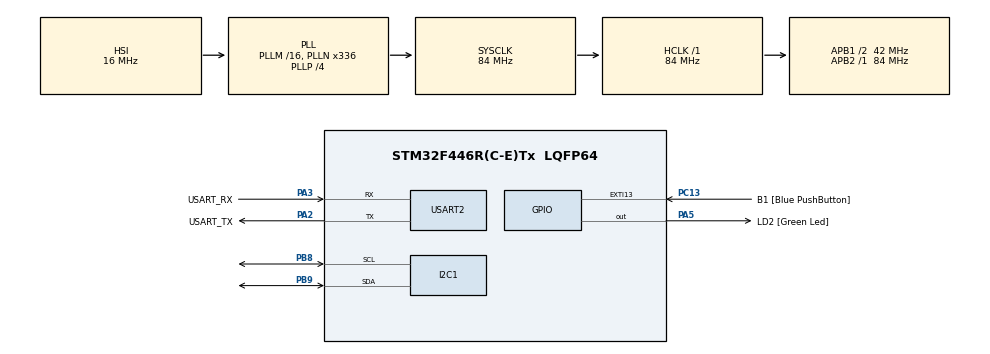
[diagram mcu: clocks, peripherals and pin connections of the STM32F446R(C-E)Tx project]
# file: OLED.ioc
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I2C1.I2C_Mode=I2C_Fast
Mcu.Family=STM32F4
Mcu.Name=STM32F446R(C-E)Tx
Mcu.Package=LQFP64
NVIC.EXTI15_10_IRQn=true\:0\:0\:false\:false\:true\:true\:true\:true
NVIC.PriorityGroup=NVIC_PRIORITYGROUP_0
PA13.GPIO_Label=TMS
PA13.Mode=Serial_Wire
PA13.Signal=SYS_JTMS-SWDIO
PA14.GPIO_Label=TCK
PA14.Mode=Serial_Wire
PA14.Signal=SYS_JTCK-SWCLK
PA2.GPIO_Label=USART_TX
PA2.Mode=Asynchronous
PA2.Signal=USART2_TX
PA3.GPIO_Label=USART_RX
PA3.Mode=Asynchronous
PA3.Signal=USART2_RX
PA5.GPIO_Label=LD2 [Green Led]
PA5.Signal=GPIO_Output
PB3.GPIO_Label=SWO
PB3.Signal=SYS_JTDO-SWO
PB8.Mode=I2C
PB8.Signal=I2C1_SCL
PB9.Mode=I2C
PB9.Signal=I2C1_SDA
PC13.GPIO_Label=B1 [Blue PushButton]
PC13.GPIO_ModeDefaultEXTI=GPIO_MODE_IT_FALLING
PC13.Signal=GPXTI13
PC14-OSC32_IN.Mode=LSE-External-Oscillator
PC14-OSC32_IN.Signal=RCC_OSC32_IN
PC15-OSC32_OUT.Mode=LSE-External-Oscillator
PC15-OSC32_OUT.Signal=RCC_OSC32_OUT
PH0-OSC_IN.Mode=HSE-External-Oscillator
PH0-OSC_IN.Signal=RCC_OSC_IN
PH1-OSC_OUT.Mode=HSE-External-Oscillator
PH1-OSC_OUT.Signal=RCC_OSC_OUT
ProjectManager.HeapSize=0x200
ProjectManager.StackSize=0x400
ProjectManager.TargetToolchain=STM32CubeIDE
RCC.48MHZClocksFreq_Value=84000000
RCC.AHBFreq_Value=84000000
RCC.APB1CLKDivider=RCC_HCLK_DIV2
RCC.APB1Freq_Value=42000000
RCC.APB1TimFreq_Value=84000000
RCC.APB2Freq_Value=84000000
RCC.APB2TimFreq_Value=84000000
RCC.CortexFreq_Value=84000000
RCC.FLatency-AdvancedSettings=FLASH_LATENCY_2
RCC.HCLKFreq_Value=84000000
RCC.HSE_VALUE=8000000
RCC.HSI_VALUE=16000000
RCC.PLLN=336
RCC.PLLP=RCC_PLLP_DIV4
RCC.SYSCLKFreq_VALUE=84000000
RCC.SYSCLKSource=RCC_SYSCLKSOURCE_PLLCLK
RCC.USBFreq_Value=168000000
RCC.VCOOutputFreq_Value=336000000
USART2.VirtualMode=VM_ASYNC
board=NUCLEO-F446RE

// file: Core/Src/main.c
/* USER CODE BEGIN Header */
/**
  ******************************************************************************
  * @file           : main.c
  * @brief          : Main program body
  ******************************************************************************
  * @attention
  *
  * Copyright (c) 2023 STMicroelectronics.
  * All rights reserved.
  *
  * This software is licensed under terms that can be found in the LICENSE file
  * in the root directory of this software component.
  * If no LICENSE file comes with this software, it is provided AS-IS.
  *
  ******************************************************************************
  */
/* USER CODE END Header */
#include "main.h"
#include <stdbool.h>
#include <stdlib.h>
#include <time.h>

/* USER CODE BEGIN Includes */
#include "ssd1306.h"
/* USER CODE END Includes */

/* USER CODE BEGIN PTD */
typedef struct {
	SSD1306_VERTEX leftTop;
	uint8_t width;
	uint8_t height;
	bool backward;
} PADDLE;
/* USER CODE END PTD */

I2C_HandleTypeDef hi2c1;
UART_HandleTypeDef huart2;

/* USER CODE BEGIN PV */
static PADDLE paddle;
/* USER CODE END PV */

void SystemClock_Config(void);
static void MX_GPIO_Init(void);
static void MX_USART2_UART_Init(void);
static void MX_I2C1_Init(void);

/* USER CODE BEGIN PFP */
void paddleInit();
void generateRandomCoordinate(SSD1306_VERTEX *coordinate);
/* USER CODE END PFP */

int main(void)
{
  /* USER CODE BEGIN 1 */
	SSD1306_VERTEX ballCoordinate;
	void paddleInit(){
		paddle.leftTop.x = 0;
		paddle.leftTop.y = 60;
		paddle.width = 20;
		paddle.height = 3;
		paddle.backward = false;
	}

	void generateRandomCoordinate(SSD1306_VERTEX *coordinate){
		uint8_t x, y;

		//srand(time(0)); TODO: need to implement _gettimeofday func to work

		x = 0 + rand() / (RAND_MAX / (SSD1306_WIDTH - 0 + 1) + 1);
		y = 0 + rand() / (RAND_MAX / (SSD1306_HEIGHT - 0 + 1) + 1);

		coordinate->x = x;
		coordinate->y = y;
	}
  /* USER CODE END 1 */

  /* MCU Configuration--------------------------------------------------------*/

  /* Reset of all peripherals, Initializes the Flash interface and the Systick. */
  HAL_Init();

  /* Configure the system clock */
  SystemClock_Config();

  /* Initialize all configured peripherals */
  MX_GPIO_Init();
  MX_USART2_UART_Init();
  MX_I2C1_Init();
  /* USER CODE BEGIN 2 */
  HAL_Delay(1000);
  ssd1306_Init();
  paddleInit();
  generateRandomCoordinate(&ballCoordinate);
  /* USER CODE END 2 */

  /* Infinite loop */
  /* USER CODE BEGIN WHILE */
  while (1)
  {
	  ssd1306_Fill(Black);
	  ssd1306_FillRectangle(ballCoordinate.x, ballCoordinate.y, ballCoordinate.x+3, ballCoordinate.y+3, White);

	  if (paddle.backward && paddle.leftTop.x > 0){
		  paddle.leftTop.x--;
	  }
	  else if (!paddle.backward && paddle.leftTop.x + paddle.width < SSD1306_WIDTH - 1){
		  paddle.leftTop.x++;
	  }
	  else{
		  paddle.backward = !paddle.backward;
	  }
	  ssd1306_FillRectangle(paddle.leftTop.x, paddle.leftTop.y, paddle.leftTop.x + paddle.width, paddle.leftTop.y + paddle.height, White);
	  ssd1306_UpdateScreen();

    /* USER CODE END WHILE */

  }
}

void SystemClock_Config(void)
{
  RCC_OscInitTypeDef RCC_OscInitStruct = {0};
  RCC_ClkInitTypeDef RCC_ClkInitStruct = {0};

  /** Configure the main internal regulator output voltage
  */
  __HAL_RCC_PWR_CLK_ENABLE();
  __HAL_PWR_VOLTAGESCALING_CONFIG(PWR_REGULATOR_VOLTAGE_SCALE3);

  /** Initializes the RCC Oscillators according to the specified parameters
  * in the RCC_OscInitTypeDef structure.
  */
  RCC_OscInitStruct.OscillatorType = RCC_OSCILLATORTYPE_HSI;
  RCC_OscInitStruct.HSIState = RCC_HSI_ON;
  RCC_OscInitStruct.HSICalibrationValue = RCC_HSICALIBRATION_DEFAULT;
  RCC_OscInitStruct.PLL.PLLState = RCC_PLL_ON;
  RCC_OscInitStruct.PLL.PLLSource = RCC_PLLSOURCE_HSI;
  RCC_OscInitStruct.PLL.PLLM = 16;
  RCC_OscInitStruct.PLL.PLLN = 336;
  RCC_OscInitStruct.PLL.PLLP = RCC_PLLP_DIV4;
  RCC_OscInitStruct.PLL.PLLQ = 2;
  RCC_OscInitStruct.PLL.PLLR = 2;
  if (HAL_RCC_OscConfig(&RCC_OscInitStruct) != HAL_OK)
  {
    Error_Handler();
  }

  /** Initializes the CPU, AHB and APB buses clocks
  */
  RCC_ClkInitStruct.ClockType = RCC_CLOCKTYPE_HCLK|RCC_CLOCKTYPE_SYSCLK
                              |RCC_CLOCKTYPE_PCLK1|RCC_CLOCKTYPE_PCLK2;
  RCC_ClkInitStruct.SYSCLKSource = RCC_SYSCLKSOURCE_PLLCLK;
  RCC_ClkInitStruct.AHBCLKDivider = RCC_SYSCLK_DIV1;
  RCC_ClkInitStruct.APB1CLKDivider = RCC_HCLK_DIV2;
  RCC_ClkInitStruct.APB2CLKDivider = RCC_HCLK_DIV1;

  if (HAL_RCC_ClockConfig(&RCC_ClkInitStruct, FLASH_LATENCY_2) != HAL_OK)
  {
    Error_Handler();
  }
}

static void MX_I2C1_Init(void)
{

  hi2c1.Instance = I2C1;
  hi2c1.Init.ClockSpeed = 400000;
  hi2c1.Init.DutyCycle = I2C_DUTYCYCLE_2;
  hi2c1.Init.OwnAddress1 = 0;
  hi2c1.Init.AddressingMode = I2C_ADDRESSINGMODE_7BIT;
  hi2c1.Init.DualAddressMode = I2C_DUALADDRESS_DISABLE;
  hi2c1.Init.OwnAddress2 = 0;
  hi2c1.Init.GeneralCallMode = I2C_GENERALCALL_DISABLE;
  hi2c1.Init.NoStretchMode = I2C_NOSTRETCH_DISABLE;
  if (HAL_I2C_Init(&hi2c1) != HAL_OK)
  {
    Error_Handler();
  }

}

static void MX_USART2_UART_Init(void)
{

  huart2.Instance = USART2;
  huart2.Init.BaudRate = 115200;
  huart2.Init.WordLength = UART_WORDLENGTH_8B;
  huart2.Init.StopBits = UART_STOPBITS_1;
  huart2.Init.Parity = UART_PARITY_NONE;
  huart2.Init.Mode = UART_MODE_TX_RX;
  huart2.Init.HwFlowCtl = UART_HWCONTROL_NONE;
  huart2.Init.OverSampling = UART_OVERSAMPLING_16;
  if (HAL_UART_Init(&huart2) != HAL_OK)
  {
    Error_Handler();
  }

}

static void MX_GPIO_Init(void)
{
  GPIO_InitTypeDef GPIO_InitStruct = {0};

  /* GPIO Ports Clock Enable */
  __HAL_RCC_GPIOC_CLK_ENABLE();
  __HAL_RCC_GPIOH_CLK_ENABLE();
  __HAL_RCC_GPIOA_CLK_ENABLE();
  __HAL_RCC_GPIOB_CLK_ENABLE();

  /*Configure GPIO pin Output Level */
  HAL_GPIO_WritePin(LD2_GPIO_Port, LD2_Pin, GPIO_PIN_RESET);

  /*Configure GPIO pin : B1_Pin */
  GPIO_InitStruct.Pin = B1_Pin;
  GPIO_InitStruct.Mode = GPIO_MODE_IT_FALLING;
  GPIO_InitStruct.Pull = GPIO_NOPULL;
  HAL_GPIO_Init(B1_GPIO_Port, &GPIO_InitStruct);

  /*Configure GPIO pin : LD2_Pin */
  GPIO_InitStruct.Pin = LD2_Pin;
  GPIO_InitStruct.Mode = GPIO_MODE_OUTPUT_PP;
  GPIO_InitStruct.Pull = GPIO_NOPULL;
  GPIO_InitStruct.Speed = GPIO_SPEED_FREQ_LOW;
  HAL_GPIO_Init(LD2_GPIO_Port, &GPIO_InitStruct);

  /* EXTI interrupt init*/
  HAL_NVIC_SetPriority(EXTI15_10_IRQn, 0, 0);
  HAL_NVIC_EnableIRQ(EXTI15_10_IRQn);

}

/* USER CODE BEGIN 4 */
void HAL_GPIO_EXTI_Callback(uint16_t GPIO_Pin){
	;
}

/* USER CODE END 4 */

void Error_Handler(void)
{
  __disable_irq();
  while (1)
  {
  }
}
